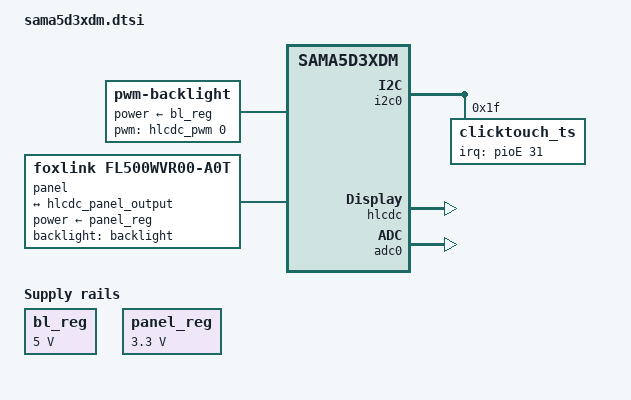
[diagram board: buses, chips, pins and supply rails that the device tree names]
/*
 * sama5d3dm.dtsi - Device Tree file for SAMA5 display module
 *
 *  Copyright (C) 2013 Atmel,
 *                2013 Ludovic Desroches <ludovic.desroches@atmel.com>
 *
 * Licensed under GPLv2 or later.
 */

/ {
	ahb {
		apb {
			i2c0: i2c@f0014000 {
				clicktouch_ts: keyboard@1f {
					compatible = "clicktouch_ts";
					reg = <0x1f>;
					interrupt-parent = <&pioE>;
					interrupts = <31 0x0>;
					pinctrl-names = "default";
					pinctrl-0 = <&pinctrl_clicktouch_ts_irq>;
					wakeup-source;
				};
			};

			hlcdc: hlcdc@f0030000 {
				status = "okay";

				hlcdc-display-controller {
					pinctrl-names = "default";
					pinctrl-0 = <&pinctrl_lcd_base &pinctrl_lcd_rgb888_alt>;

					port@0 {
						hlcdc_panel_output: endpoint@0 {
							reg = <0>;
							remote-endpoint = <&panel_input>;
						};
					};
				};
			};

			adc0: adc@f8018000 {
				atmel,adc-ts-wires = <4>;
				atmel,adc-ts-pressure-threshold = <10000>;
				status = "okay";
			};

			pinctrl@fffff200 {
				board {
					pinctrl_clicktouch_ts_irq: clicktouch_ts_irq {
						atmel,pins =
							<AT91_PIOE 31 AT91_PERIPH_GPIO AT91_PINCTRL_PULL_UP_DEGLITCH>; /* PE31 GPIO with pull up deglith */
					};
				};
			};
		};
	};

	backlight: backlight {
		compatible = "pwm-backlight";
		pwms = <&hlcdc_pwm 0 50000 0>;
		brightness-levels = <0 4 8 16 32 64 128 255>;
		default-brightness-level = <6>;
		power-supply = <&bl_reg>;
		status = "okay";
	};

	bl_reg: backlight_regulator {
		compatible = "regulator-fixed";
		regulator-name = "backlight-power-supply";
		regulator-min-microvolt = <5000000>;
		regulator-max-microvolt = <5000000>;
		status = "okay";
	};

	panel: panel {
		compatible = "foxlink,fl500wvr00-a0t", "simple-panel";
		backlight = <&backlight>;
		power-supply = <&panel_reg>;
		#address-cells = <1>;
		#size-cells = <0>;
		status = "okay";

		port@0 {
			#address-cells = <1>;
			#size-cells = <0>;

			panel_input: endpoint@0 {
				reg = <0>;
				remote-endpoint = <&hlcdc_panel_output>;
			};
		};
	};

	panel_reg: panel_regulator {
		compatible = "regulator-fixed";
		regulator-name = "panel-power-supply";
		regulator-min-microvolt = <3300000>;
		regulator-max-microvolt = <3300000>;
		status = "okay";
	};
};
